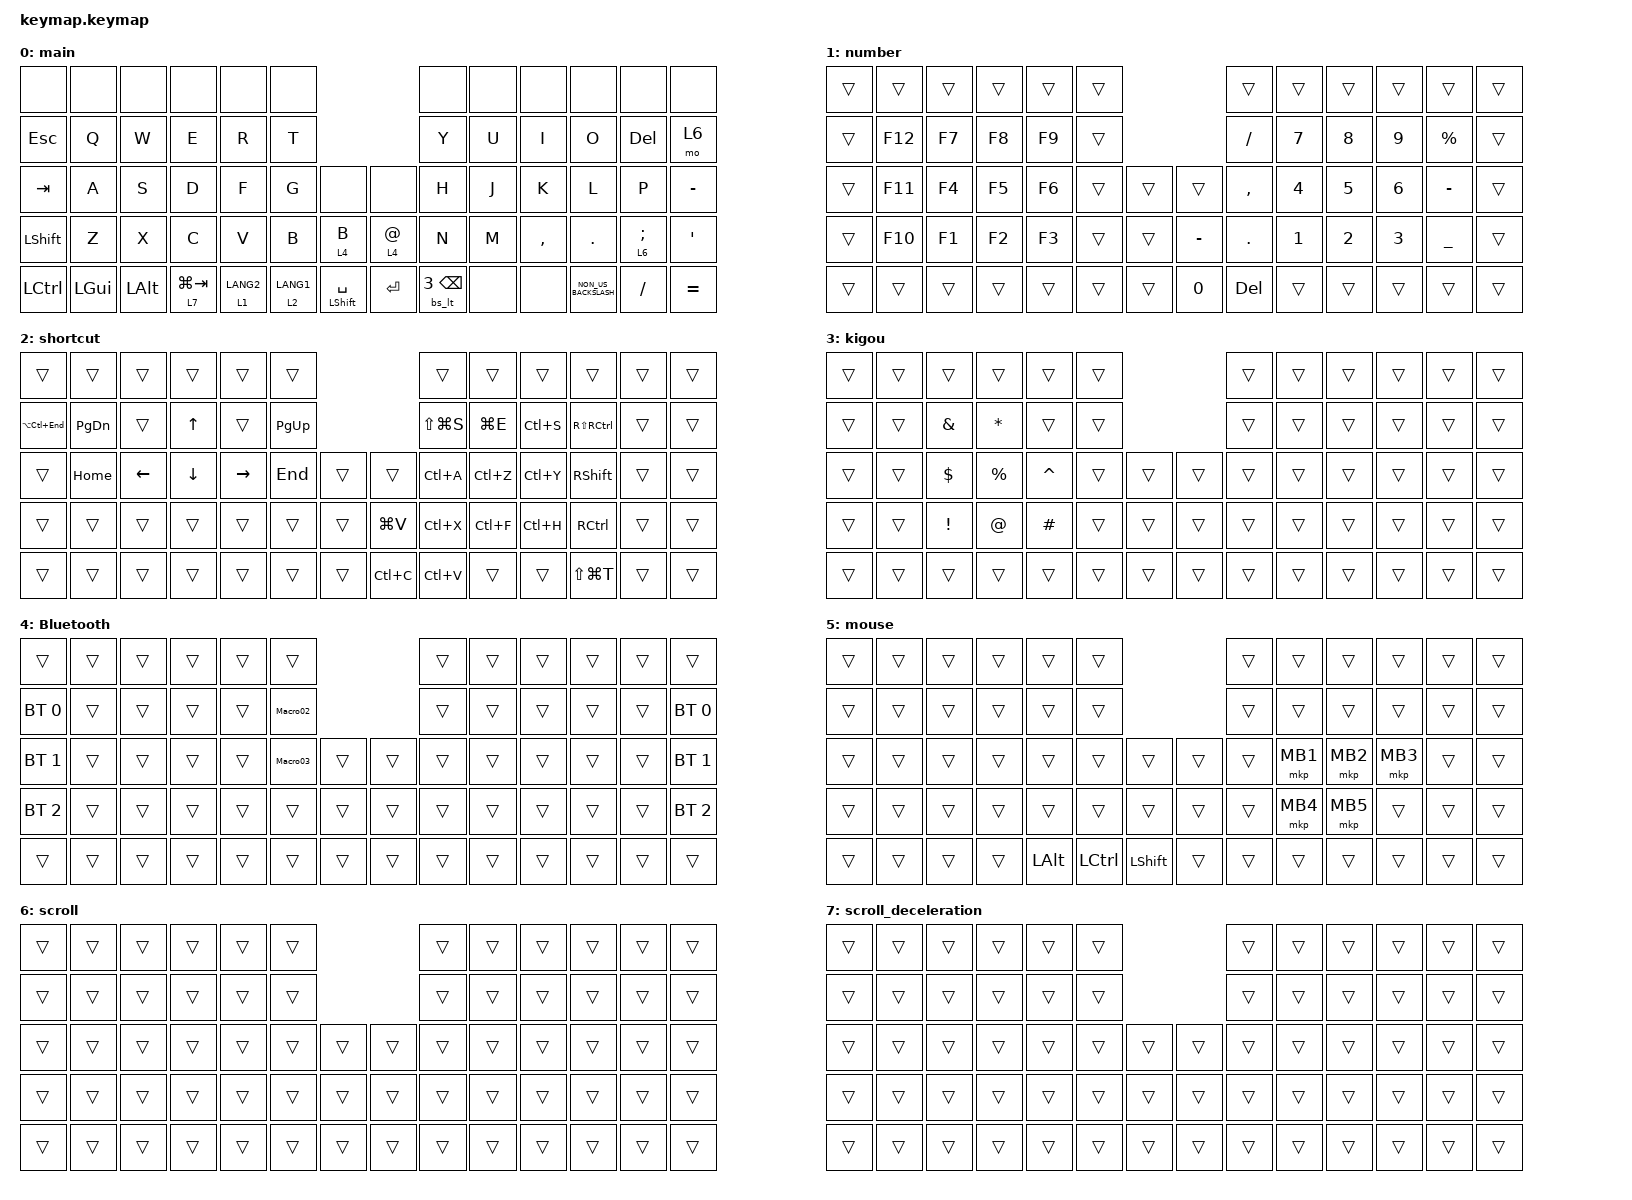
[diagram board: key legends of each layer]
#include <input/processors.dtsi>
#include <behaviors.dtsi>
#include <dt-bindings/zmk/bt.h>
#include <dt-bindings/zmk/keys.h>
#include <dt-bindings/zmk/pointing.h>

//クリックした後250ミリ秒後にAMLを解除する。

&mkp_input_listener { input-processors = <&zip_temp_layer 5 250>; };

/ {
    combos {
        compatible = "zmk,combos";

        Combos00 {
            bindings = <&kp NON_US_BACKSLASH>;
            key-positions = <64 65>;
        };

        Combos01 {
            bindings = <&kp LEFT_PARENTHESIS>;
            key-positions = <18 19>;
        };

        Combos02 {
            bindings = <&kp RIGHT_PARENTHESIS>;
            key-positions = <19 20>;
        };

        Combos03 {
            bindings = <&kp LEFT_BRACKET>;
            key-positions = <32 33>;
        };

        Combos4 {
            bindings = <&kp RIGHT_BRACKET>;
            key-positions = <33 34>;
        };

        Combos05 {
            bindings = <&kp LEFT_BRACE>;
            key-positions = <46 47>;
        };

        Combos06 {
            bindings = <&kp RIGHT_BRACE>;
            key-positions = <47 48>;
        };

        test {
            bindings = <&kp A>;
            key-positions = <33 34 35 47 48>;
        };
    };

    macros {
        Macro00: new_macro {
            compatible = "zmk,behavior-macro";
            #binding-cells = <0>;
            bindings = <&kp LEFT_PARENTHESIS &kp RIGHT_PARENTHESIS &kp LEFT>;
            label = "NEW_MACRO";
        };

        Macro01: kagikakko {
            compatible = "zmk,behavior-macro";
            #binding-cells = <0>;
            bindings = <&kp LEFT_BRACKET &kp RIGHT_BRACKET &kp LEFT>;
            label = "KAGIKAKKO";
        };

        Macro02: Macro02 {
            compatible = "zmk,behavior-macro";
            #binding-cells = <0>;
            bindings = <&kp LS(S) &kp U &kp Z &kp U &kp R &kp A &kp N &kp AT &kp LS(K) &kp A &kp Z &kp U &kp M &kp A &kp N1 &kp N2 &kp N5 &kp N1>;
            label = "MACRO02";
        };

        Macro03: Macro03 {
            compatible = "zmk,behavior-macro";
            #binding-cells = <0>;
            bindings = <&kp LS(K) &kp O &kp B &kp E &kp L &kp C &kp O &kp DOT &kp C &kp O &kp M>;
            label = "MACRO03";
        };
    };

    keymap {
        compatible = "zmk,keymap";

        main {
            bindings = <
&none      &none     &none         &none          &none        &none                                        &none          &none  &none      &none                 &none            &none
&kp ESC    &kp Q     &kp W         &kp E          &kp R        &kp T                                        &kp Y          &kp U  &kp I      &kp O                 &kp DELETE       &mo 6
&kp TAB    &kp A     &kp S         &kp D          &kp F        &kp G        &none            &none          &kp H          &kp J  &kp K      &kp L                 &kp P            &kp MINUS
&kp LSHFT  &kp Z     &kp X         &kp C          &kp V        &kp B        &lt 4 B          &lt 4 AT_SIGN  &kp N          &kp M  &kp COMMA  &kp DOT               &lt 6 SEMICOLON  &kp SQT
&kp LCTRL  &kp LGUI  &kp LEFT_ALT  &lt 7 LG(TAB)  &lt 1 LANG2  &lt 2 LANG1  &mt LSHFT SPACE  &kp ENTER      &bs_lt 3 BSPC  &none  &none      &kp NON_US_BACKSLASH  &kp SLASH        &kp EQUAL
            >;
        };

        number {
            bindings = <
&trans  &trans   &trans  &trans  &trans  &trans                     &trans      &trans        &trans        &trans        &trans          &trans
&trans  &kp F12  &kp F7  &kp F8  &kp F9  &trans                     &kp SLASH   &kp NUMBER_7  &kp NUMBER_8  &kp N9        &kp PERCENT     &trans
&trans  &kp F11  &kp F4  &kp F5  &kp F6  &trans  &trans  &trans     &kp COMMA   &kp NUMBER_4  &kp NUMBER_5  &kp NUMBER_6  &kp MINUS       &trans
&trans  &kp F10  &kp F1  &kp F2  &kp F3  &trans  &trans  &kp MINUS  &kp PERIOD  &kp NUMBER_1  &kp NUMBER_2  &kp NUMBER_3  &kp UNDERSCORE  &trans
&trans  &trans   &trans  &trans  &trans  &trans  &trans  &kp N0     &kp DEL     &trans        &trans        &trans        &trans          &trans
            >;
        };

        shortcut {
            bindings = <
&trans           &trans     &trans    &trans          &trans     &trans                        &trans         &trans     &trans     &trans         &trans  &trans
&kp LA(LC(END))  &kp PG_DN  &trans    &kp UP_ARROW    &trans     &kp PG_UP                     &kp LS(LG(S))  &kp LG(E)  &kp LC(S)  &kp RS(RCTRL)  &trans  &trans
&trans           &kp HOME   &kp LEFT  &kp DOWN_ARROW  &kp RIGHT  &kp END    &trans  &trans     &kp LC(A)      &kp LC(Z)  &kp LC(Y)  &kp RSHIFT     &trans  &trans
&trans           &trans     &trans    &trans          &trans     &trans     &trans  &kp LG(V)  &kp LC(X)      &kp LC(F)  &kp LC(H)  &kp RCTRL      &trans  &trans
&trans           &trans     &trans    &trans          &trans     &trans     &trans  &kp LC(C)  &kp LC(V)      &trans     &trans     &kp LS(LG(T))  &trans  &trans
            >;
        };

        kigou {
            bindings = <
&trans  &trans  &trans           &trans        &trans     &trans                  &trans  &trans  &trans  &trans  &trans  &trans
&trans  &trans  &kp AMPERSAND    &kp ASTERISK  &trans     &trans                  &trans  &trans  &trans  &trans  &trans  &trans
&trans  &trans  &kp DOLLAR       &kp PERCENT   &kp CARET  &trans  &trans  &trans  &trans  &trans  &trans  &trans  &trans  &trans
&trans  &trans  &kp EXCLAMATION  &kp AT_SIGN   &kp HASH   &trans  &trans  &trans  &trans  &trans  &trans  &trans  &trans  &trans
&trans  &trans  &trans           &trans        &trans     &trans  &trans  &trans  &trans  &trans  &trans  &trans  &trans  &trans
            >;
        };

        Bluetooth {
            bindings = <
&trans        &trans  &trans  &trans  &trans  &trans                    &trans  &trans  &trans  &trans  &trans  &trans
&bt BT_SEL 0  &trans  &trans  &trans  &trans  &Macro02                  &trans  &trans  &trans  &trans  &trans  &bt BT_SEL 0
&bt BT_SEL 1  &trans  &trans  &trans  &trans  &Macro03  &trans  &trans  &trans  &trans  &trans  &trans  &trans  &bt BT_SEL 1
&bt BT_SEL 2  &trans  &trans  &trans  &trans  &trans    &trans  &trans  &trans  &trans  &trans  &trans  &trans  &bt BT_SEL 2
&trans        &trans  &trans  &trans  &trans  &trans    &trans  &trans  &trans  &trans  &trans  &trans  &trans  &trans
            >;
        };

        mouse {
            bindings = <
&trans  &trans  &trans  &trans  &trans        &trans                        &trans  &trans    &trans    &trans    &trans  &trans
&trans  &trans  &trans  &trans  &trans        &trans                        &trans  &trans    &trans    &trans    &trans  &trans
&trans  &trans  &trans  &trans  &trans        &trans     &trans     &trans  &trans  &mkp MB1  &mkp MB2  &mkp MB3  &trans  &trans
&trans  &trans  &trans  &trans  &trans        &trans     &trans     &trans  &trans  &mkp MB4  &mkp MB5  &trans    &trans  &trans
&trans  &trans  &trans  &trans  &kp LEFT_ALT  &kp LCTRL  &kp LSHFT  &trans  &trans  &trans    &trans    &trans    &trans  &trans
            >;
        };

        scroll {
            bindings = <
&trans  &trans  &trans  &trans  &trans  &trans                  &trans  &trans  &trans  &trans  &trans  &trans
&trans  &trans  &trans  &trans  &trans  &trans                  &trans  &trans  &trans  &trans  &trans  &trans
&trans  &trans  &trans  &trans  &trans  &trans  &trans  &trans  &trans  &trans  &trans  &trans  &trans  &trans
&trans  &trans  &trans  &trans  &trans  &trans  &trans  &trans  &trans  &trans  &trans  &trans  &trans  &trans
&trans  &trans  &trans  &trans  &trans  &trans  &trans  &trans  &trans  &trans  &trans  &trans  &trans  &trans
            >;
        };

        scroll_deceleration {
            bindings = <
&trans  &trans  &trans  &trans  &trans  &trans                  &trans  &trans  &trans  &trans  &trans  &trans
&trans  &trans  &trans  &trans  &trans  &trans                  &trans  &trans  &trans  &trans  &trans  &trans
&trans  &trans  &trans  &trans  &trans  &trans  &trans  &trans  &trans  &trans  &trans  &trans  &trans  &trans
&trans  &trans  &trans  &trans  &trans  &trans  &trans  &trans  &trans  &trans  &trans  &trans  &trans  &trans
&trans  &trans  &trans  &trans  &trans  &trans  &trans  &trans  &trans  &trans  &trans  &trans  &trans  &trans
            >;
        };
    };
};
